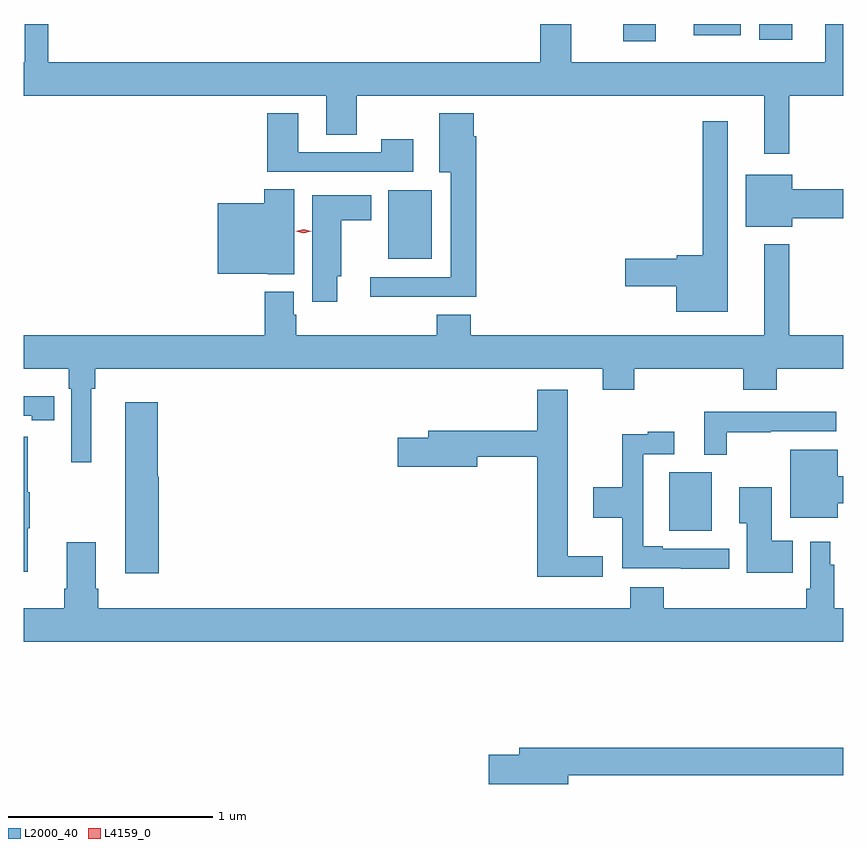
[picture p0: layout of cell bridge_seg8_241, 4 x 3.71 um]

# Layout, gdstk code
import gdstk
lib = gdstk.Library(unit=1e-6, precision=1e-09)
def R(c, l, rs):  # rectangles x0, y0, x1, y1
    for r in rs: c.add(gdstk.rectangle(r[:2], r[2:], *l))
def P(c, l, *ps):  # polygons
    for p in ps: c.add(gdstk.Polygon(p, *l))
L2000_40 = (2000, 40)
L4159_0 = (4159, 0)

bridge_seg8_241 = lib.new_cell('bridge_seg8_241')
R(bridge_seg8_241, L2000_40, [(355.583,1131.695,355.789,1131.979), (354.212,1133.021,354.424,1133.356), (355.358,1134.084,355.516,1134.167), (356.021,1134.09,356.182,1134.167), (355.701,1134.113,355.932,1134.167)])
P(bridge_seg8_241, L2000_40, [(356.167,1133.816),(356.432,1133.816),(356.432,1134.167),(356.345,1134.167),(356.345,1133.98),(355.105,1133.98),(355.105,1134.167),(354.953,1134.167),(354.953,1133.98),(352.553,1133.98),(352.553,1134.167),(352.436,1134.167),(352.436,1133.98),(352.432,1133.98),(352.432,1133.816),(353.909,1133.816),(353.909,1133.626),(354.057,1133.626),(354.057,1133.816),(356.045,1133.816),(356.045,1133.535),(356.167,1133.535)],
  [(354.641,1133.618),(354.628,1133.618),(354.628,1133.731),(354.461,1133.731),(354.461,1133.444),(354.515,1133.444),(354.515,1132.932),(354.123,1132.932),(354.123,1132.835),(354.641,1132.835)],
  [(354.334,1133.605),(354.178,1133.605),(354.178,1133.541),(353.773,1133.541),(353.773,1133.731),(353.621,1133.731),(353.621,1133.445),(354.334,1133.445)],
  [(355.867,1133.692),(355.746,1133.692),(355.746,1133.039),(355.62,1133.039),(355.62,1133.021),(355.368,1133.021),(355.368,1132.886),(355.616,1132.886),(355.616,1132.763),(355.867,1132.763)],
  [(356.182,1133.219),(356.431,1133.219),(356.431,1133.361),(356.182,1133.361),(356.182,1133.431),(355.955,1133.431),(355.955,1133.177),(356.182,1133.177)],
  [(353.752,1133.36),(353.606,1133.36),(353.606,1133.293),(353.378,1133.293),(353.378,1132.949),(353.622,1132.949),(353.622,1132.946),(353.752,1132.946)],
  [(353.962,1132.935),(353.983,1132.935),(353.983,1133.21),(354.127,1133.21),(354.127,1133.332),(353.84,1133.332),(353.84,1132.812),(353.962,1132.812)],
  [(353.609,1132.861),(353.609,1132.648),(352.432,1132.648),(352.432,1132.484),(352.652,1132.484),(352.652,1132.388),(352.665,1132.388),(352.665,1132.029),(352.762,1132.029),(352.762,1132.388),(352.781,1132.388),(352.781,1132.484),(355.259,1132.484),(355.259,1132.382),(355.412,1132.382),(355.412,1132.484),(355.943,1132.484),(355.943,1132.382),(356.108,1132.382),(356.108,1132.484),(356.432,1132.484),(356.432,1132.648),(356.167,1132.648),(356.167,1133.092),(356.045,1133.092),(356.045,1132.648),(354.614,1132.648),(354.614,1132.747),(354.449,1132.747),(354.449,1132.648),(353.762,1132.648),(353.762,1132.749),(353.749,1132.749),(353.749,1132.861)],
  [(355.258,1131.569),(355.087,1131.569),(355.087,1132.381),(354.938,1132.381),(354.938,1132.183),(354.407,1132.183),(354.407,1132.149),(354.258,1132.149),(354.258,1132.007),(354.646,1132.007),(354.646,1132.054),(354.938,1132.054),(354.938,1131.47),(355.258,1131.47)],
  [(352.58,1132.35),(352.472,1132.35),(352.472,1132.351),(352.432,1132.351),(352.432,1132.254),(352.472,1132.254),(352.472,1132.234),(352.58,1132.234)],
  [(353.092,1131.957),(353.087,1131.957),(353.087,1132.321),(352.928,1132.321),(352.928,1131.486),(353.092,1131.486)],
  [(355.864,1132.174),(356.078,1132.174),(356.078,1132.179),(356.398,1132.179),(356.398,1132.275),(355.754,1132.275),(355.754,1132.064),(355.864,1132.064)],
  [(355.876,1131.606),(355.552,1131.606),(355.552,1131.619),(355.455,1131.619),(355.455,1132.068),(355.606,1132.068),(355.606,1132.177),(355.478,1132.177),(355.478,1132.166),(355.354,1132.166),(355.354,1131.906),(355.212,1131.906),(355.212,1131.758),(355.354,1131.758),(355.354,1131.51),(355.639,1131.51),(355.639,1131.509),(355.876,1131.509)],
  [(352.451,1131.707),(352.462,1131.707),(352.462,1131.881),(352.451,1131.881),(352.451,1132.153),(352.432,1132.153),(352.432,1131.495),(352.451,1131.495)],
  [(356.404,1131.827),(356.432,1131.827),(356.432,1131.961),(356.404,1131.961),(356.404,1132.09),(356.174,1132.09),(356.174,1131.758),(356.404,1131.758)],
  [(356.186,1131.646),(356.083,1131.646),(356.083,1131.907),(355.925,1131.907),(355.925,1131.73),(355.961,1131.73),(355.961,1131.488),(356.186,1131.488)],
  [(356.432,1131.316),(356.387,1131.316),(356.387,1131.527),(356.368,1131.527),(356.368,1131.64),(356.271,1131.64),(356.271,1131.412),(356.251,1131.412),(356.251,1131.316),(355.556,1131.316),(355.556,1131.418),(355.391,1131.418),(355.391,1131.316),(352.796,1131.316),(352.796,1131.412),(352.783,1131.412),(352.783,1131.637),(352.643,1131.637),(352.643,1131.412),(352.631,1131.412),(352.631,1131.316),(352.432,1131.316),(352.432,1131.152),(356.432,1131.152)],
  [(355.09,1130.5),(356.432,1130.5),(356.432,1130.636),(354.851,1130.636),(354.851,1130.6),(354.702,1130.6),(354.702,1130.458),(355.09,1130.458)])
P(bridge_seg8_241, L4159_0, [(353.798,1133.146),(353.76,1133.156),(353.76,1133.156),(353.76,1133.156),(353.798,1133.166),(353.836,1133.156),(353.836,1133.156),(353.836,1133.156)])

lib.write_gds('bridge_seg8_241.gds')
